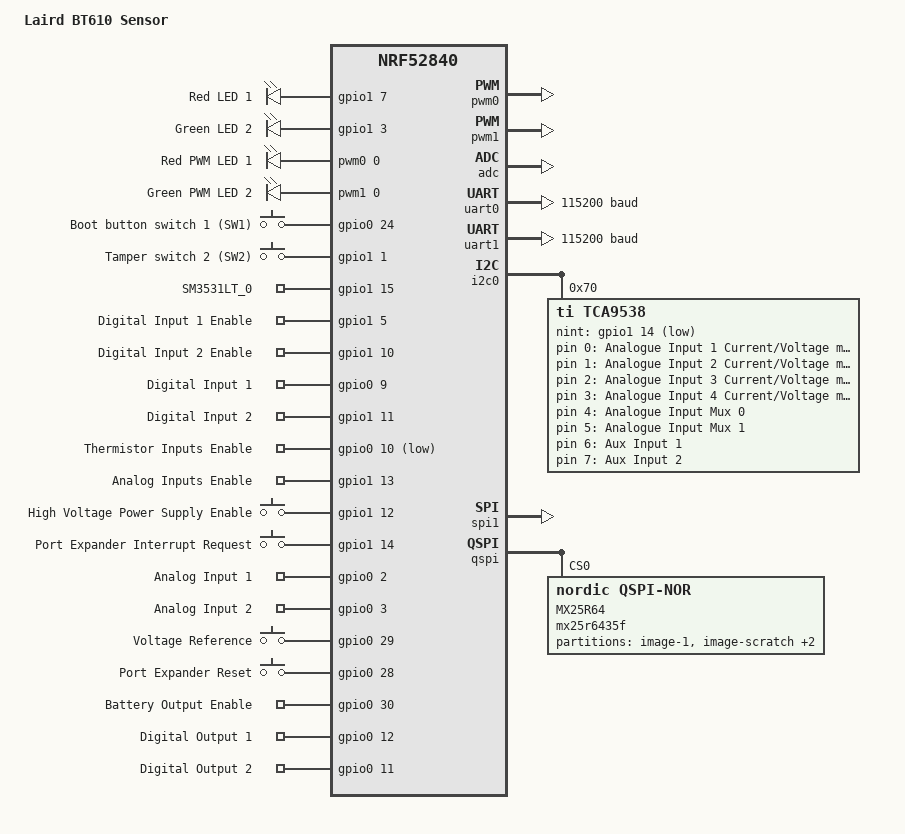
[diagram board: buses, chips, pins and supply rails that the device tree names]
/*
 * Copyright (c) 2021 Laird Connectivity
 *
 * SPDX-License-Identifier: Apache-2.0
 */

/dts-v1/;
#include <nordic/nrf52840_qiaa.dtsi>
#include "bt610-pinctrl.dtsi"

/ {
	model = "Laird BT610 Sensor";
	compatible = "lairdconnect,bt610";

	chosen {
		zephyr,console = &uart0;
		zephyr,shell-uart = &uart0;
		zephyr,uart-mcumgr = &uart0;
		zephyr,bt-mon-uart = &uart0;
		zephyr,bt-c2h-uart = &uart0;
		zephyr,sram = &sram0;
		zephyr,flash = &flash0;
		zephyr,code-partition = &slot0_partition;
	};

	leds {
		compatible = "gpio-leds";
		led1: led_1 {
			gpios = <&gpio1 7 GPIO_ACTIVE_HIGH>;
			label = "Red LED 1";
		};
		led2: led_2 {
			gpios = <&gpio1 3 GPIO_ACTIVE_HIGH>;
			label = "Green LED 2";
		};
	};

	pwmleds {
		compatible = "pwm-leds";

		led1pwm: led_1_pwm {
			pwms = <&pwm0 0 PWM_MSEC(20) PWM_POLARITY_NORMAL>;
			label = "Red PWM LED 1";
		};

		led2pwm: led_2_pwm {
			pwms = <&pwm1 0 PWM_MSEC(20) PWM_POLARITY_NORMAL>;
			label = "Green PWM LED 2";
		};
	};

	buttons {
		compatible = "gpio-keys";
		button1: button_1 {
			gpios = <&gpio0 24 GPIO_PULL_UP>;
			label = "Boot button switch 1 (SW1)";
		};
		button2: button_2 {
			gpios = <&gpio1 1 GPIO_PULL_UP>;
			label = "Tamper switch 2 (SW2)";
		};
		mag1: mag_1 {
			compatible = "honeywell,sm351lt";
			gpios = <&gpio1 15 0>;
			label = "SM3531LT_0";
		};
	};

	gpio_keys {
		compatible = "gpio-keys";
		dinenable1: din_enable_1 {
			label = "Digital Input 1 Enable";
			gpios = <&gpio1 5 GPIO_ACTIVE_HIGH>;
		};

		dinenable2: din_enable_2 {
			label = "Digital Input 2 Enable";
			gpios = <&gpio1 10 GPIO_ACTIVE_HIGH>;
		};

		din1: din_1 {
			label = "Digital Input 1";
			gpios = <&gpio0 9 GPIO_PULL_UP>;
		};

		din2: din_2 {
			label = "Digital Input 2";
			gpios = <&gpio1 11 GPIO_PULL_UP>;
		};

		thermenable: therm_enable {
			label = "Thermistor Inputs Enable";
			gpios = <&gpio0 10 GPIO_ACTIVE_LOW>;
		};

		analogenable: analog_enable {
			label = "Analog Inputs Enable";
			gpios = <&gpio1 13 GPIO_ACTIVE_HIGH>;
		};

		highsupplyenable: high_supply_enable {
			label = "High Voltage Power Supply Enable";
			gpios = <&gpio1 12 GPIO_ACTIVE_HIGH>;
		};

		expanderirq: expander_irq {
			label = "Port Expander Interrupt Request";
			gpios = <&gpio1 14 GPIO_PULL_UP>;
		};

		ain1: ain_1 {
			label = "Analog Input 1";
			gpios = <&gpio0 2 GPIO_PULL_UP>;
		};

		ain2: ain_2 {
			label = "Analog Input 2";
			gpios = <&gpio0 3 GPIO_PULL_UP>;
		};

		vref: v_ref {
			label = "Voltage Reference";
			gpios = <&gpio0 29 GPIO_PULL_UP>;
		};

		expanderreset: expander_reset {
			label = "Port Expander Reset";
			gpios = <&gpio0 28 GPIO_ACTIVE_HIGH>;
		};

		batteryoutputenable: battery_output_enable {
			label = "Battery Output Enable";
			gpios = <&gpio0 30 GPIO_ACTIVE_HIGH>;
		};

		do1mcu: do_1_mcu {
			label = "Digital Output 1";
			gpios = <&gpio0 12 GPIO_ACTIVE_HIGH>;
		};

		do2mcu: do_2_mcu {
			label = "Digital Output 2";
			gpios = <&gpio0 11 GPIO_ACTIVE_HIGH>;
		};

		ain1sel: ain_1_current_measurement_selection {
			label = "Analogue Input 1 Current/Voltage measurement select";
			gpios = <&gpio_exp0 0 GPIO_ACTIVE_HIGH>;
		};

		ain2sel: ain_2_current_measurement_selection {
			label = "Analogue Input 2 Current/Voltage measurement select";
			gpios = <&gpio_exp0 1 GPIO_ACTIVE_HIGH>;
		};

		ain3sel: ain_3_current_measurement_selection {
			label = "Analogue Input 3 Current/Voltage measurement select";
			gpios = <&gpio_exp0 2 GPIO_ACTIVE_HIGH>;
		};

		ain4sel: ain_4_current_measurement_selection {
			label = "Analogue Input 4 Current/Voltage measurement select";
			gpios = <&gpio_exp0 3 GPIO_ACTIVE_HIGH>;
		};

		aina0: analog_input_selection_0 {
			label = "Analogue Input Mux 0";
			gpios = <&gpio_exp0 4 GPIO_ACTIVE_HIGH>;
		};

		aina1: analog_input_selection_1 {
			label = "Analogue Input Mux 1";
			gpios = <&gpio_exp0 5 GPIO_ACTIVE_HIGH>;
		};

		aux1: aux_input_1 {
			label = "Aux Input 1";
			gpios = <&gpio_exp0 6 GPIO_ACTIVE_HIGH>;
		};

		aux2: aux_input_2 {
			label = "Aux Input 2";
			gpios = <&gpio_exp0 7 GPIO_ACTIVE_HIGH>;
		};
	};

	/* These aliases are provided for compatibility with samples */
	aliases {
		led0 = &led1;
		led1 = &led2;
		led0pwm = &led1pwm;
		led1pwm = &led2pwm;
		sw0 = &button1;
		sw1 = &button2;
		sw2 = &mag1;
		mcuboot-button0 = &button1;
		mcuboot-led0 = &led1;
	};
};

&pwm0 {
	status = "okay";
	pinctrl-0 = <&pwm0_default>;
	pinctrl-1 = <&pwm0_sleep>;
	pinctrl-names = "default", "sleep";
};

&pwm1 {
	status = "okay";
	pinctrl-0 = <&pwm1_default>;
	pinctrl-1 = <&pwm1_sleep>;
	pinctrl-names = "default", "sleep";
};

&adc {
	status = "okay";
};

&gpiote {
	status = "okay";
};

&gpio0 {
	status = "okay";
};

&gpio1 {
	status = "okay";
};

&uart0 {
	compatible = "nordic,nrf-uarte";
	current-speed = <115200>;
	status = "okay";
	pinctrl-0 = <&uart0_default>;
	pinctrl-1 = <&uart0_sleep>;
	pinctrl-names = "default", "sleep";
};

&uart1 {
	compatible = "nordic,nrf-uarte";
	current-speed = <115200>;
	status = "okay";
	pinctrl-0 = <&uart1_default>;
	pinctrl-1 = <&uart1_sleep>;
	pinctrl-names = "default", "sleep";
};

&i2c0 {
	compatible = "nordic,nrf-twi";
	status = "okay";

	pinctrl-0 = <&i2c0_default>;
	pinctrl-1 = <&i2c0_sleep>;
	pinctrl-names = "default", "sleep";
	gpio_exp0: tca9538@70 {
		compatible = "ti,tca9538";
		reg = <0x70>;
		label = "tca9538";
		gpio-controller;
		#gpio-cells = <2>;
		ngpios = <8>;
		nint-gpios = <&gpio1 14 GPIO_ACTIVE_LOW>;
	};
};

&spi1 {
	compatible = "nordic,nrf-spi";
	status = "okay";
	cs-gpios = <&gpio0 25 0>,
		<&gpio0 31 0>;
	pinctrl-0 = <&spi1_default>;
	pinctrl-1 = <&spi1_sleep>;
	pinctrl-names = "default", "sleep";
};

&qspi {
	status = "okay";
	pinctrl-0 = <&qspi_default>;
	pinctrl-1 = <&qspi_sleep>;
	pinctrl-names = "default", "sleep";
	mx25r64: mx25r6435f@0 {
		compatible = "nordic,qspi-nor";
		reg = <0>;
		writeoc = "pp4io";
		readoc = "read4io";
		sck-frequency = <8000000>;
		label = "MX25R64";
		jedec-id = [c2 28 17];
		sfdp-bfp = [
			e5 20 f1 ff  ff ff ff 03  44 eb 08 6b  08 3b 04 bb
			ee ff ff ff  ff ff 00 ff  ff ff 00 ff  0c 20 0f 52
			10 d8 00 ff  23 72 f5 00  82 ed 04 cc  44 83 68 44
			30 b0 30 b0  f7 c4 d5 5c  00 be 29 ff  f0 d0 ff ff
		];
		size = <67108864>;
		has-dpd;
		t-enter-dpd = <10000>;
		t-exit-dpd = <35000>;
	};
};

&flash0 {
	partitions {
		compatible = "fixed-partitions";
		#address-cells = <1>;
		#size-cells = <1>;

		/* 96K */
		boot_partition: partition@0 {
			label = "mcuboot";
			reg = <0x00000000 0x00018000>;
		};
		/* 896K */
		slot0_partition: partition@18000 {
			label = "image-0";
			reg = <0x00018000 0x000E0000>;
		};

		/*
		 * The flash starting at 0x000f8000 and ending at
		 * 0x000fffff is reserved for use by the application.
		 */

		/*
		 * Storage partition will be used by FCB/NVS
		 * if enabled. 32K
		 */
		storage_partition: partition@f8000 {
			label = "storage";
			reg = <0x000f8000 0x00008000>;
		};
	};
};

&mx25r64 {
	partitions {
		compatible = "fixed-partitions";
		#address-cells = <1>;
		#size-cells = <1>;

		/* 896K */
		slot1_partition: partition@0 {
			label = "image-1";
			reg = <0x00000000 0x000E0000>;
		};
		/* 16K */
		scratch_partition: partition@E0000 {
			label = "image-scratch";
			reg = <0x000E0000 0x00004000>;
		};
		/* 112K */
		customer_partition: partition@E4000 {
			label = "customer-storage";
			reg = <0x000E4000 0x0001C000>;
		};
		/* 7MB */
		lfs_partition: partition@100000 {
			label = "lfs_storage";
			reg = <0x00100000 0x00700000>;
		};
	};
};
